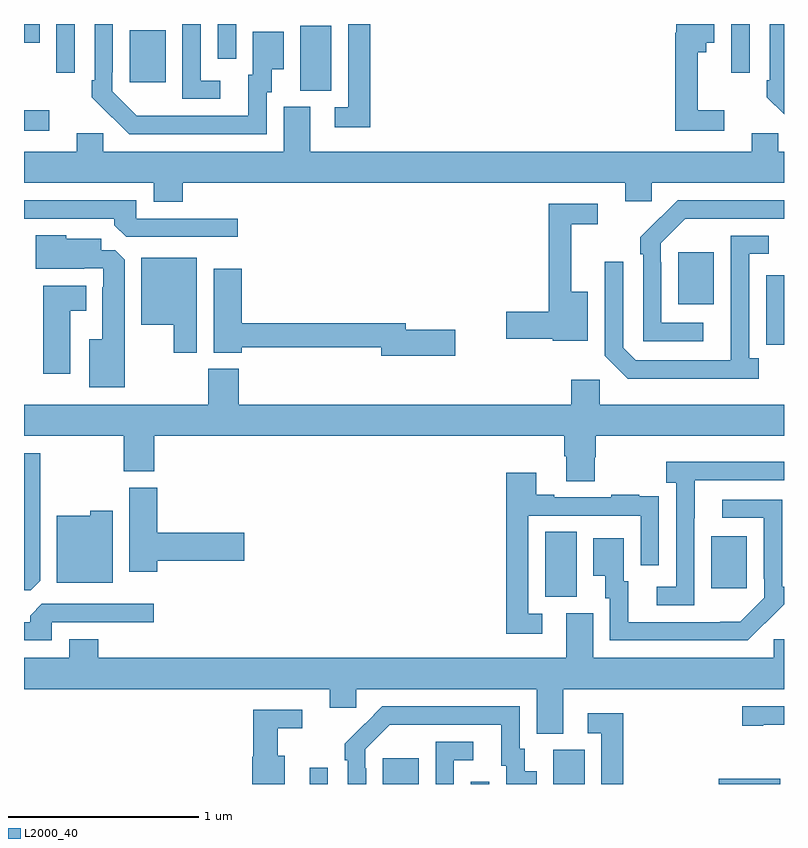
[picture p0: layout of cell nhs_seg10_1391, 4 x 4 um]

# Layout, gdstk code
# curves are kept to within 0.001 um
import gdstk
lib = gdstk.Library(unit=1e-6, precision=1e-09)
def R(c, l, rs):  # rectangles x0, y0, x1, y1
    for r in rs: c.add(gdstk.rectangle(r[:2], r[2:], *l))
def P(c, l, *ps):  # polygons
    for p in ps: c.add(gdstk.Polygon(p, *l))
L2000_40 = (2000, 40)

nhs_seg10_1391 = lib.new_cell('nhs_seg10_1391')
R(nhs_seg10_1391, L2000_40, [(184.503,1282.5,184.599,1282.585), (184.889,1282.5,185.077,1282.636), (185.352,1282.5,185.448,1282.513), (185.786,1282.5,185.95,1282.68), (186.656,1282.5,186.979,1282.528), (185.744,1283.485,185.908,1283.828), (186.617,1283.529,186.805,1283.803), (186.443,1285.025,186.631,1285.3), (183,1285.938,183.133,1286.047), (184.454,1286.149,184.618,1286.492), (183.557,1286.193,183.745,1286.467), (183.171,1286.244,183.267,1286.5), (186.723,1286.244,186.819,1286.5), (184.02,1286.316,184.116,1286.5), (183,1286.402,183.082,1286.5)])
P(nhs_seg10_1391, L2000_40, [(184.278,1286.142),(184.303,1286.142),(184.303,1286.261),(184.366,1286.261),(184.366,1286.458),(184.205,1286.458),(184.205,1286.232),(184.181,1286.232),(184.181,1286.016),(183.594,1286.017),(183.465,1286.145),(183.465,1286.245),(183.468,1286.245),(183.468,1286.5),(183.372,1286.5),(183.372,1286.203),(183.357,1286.203),(183.357,1286.115),(183.554,1285.92),(184.278,1285.92)],
  [(186.685,1286.047),(186.545,1286.047),(186.545,1286.351),(186.592,1286.351),(186.592,1286.402),(186.634,1286.402),(186.634,1286.5),(186.434,1286.5),(186.434,1286.455),(186.427,1286.455),(186.427,1285.938),(186.685,1285.938)],
  [(184.823,1286.5),(184.707,1286.5),(184.707,1286.061),(184.635,1286.061),(184.635,1285.956),(184.823,1285.956)],
  [(187,1286.5),(186.924,1286.5),(186.924,1286.203),(186.909,1286.203),(186.909,1286.115),(187,1286.024)],
  [(184.033,1286.202),(183.93,1286.202),(183.93,1286.5),(183.834,1286.5),(183.834,1286.106),(184.033,1286.106)],
  [(183.417,1285.926),(183.278,1285.926),(183.278,1285.828),(183,1285.828),(183,1285.664),(183.683,1285.664),(183.683,1285.565),(183.836,1285.565),(183.836,1285.664),(186.164,1285.664),(186.164,1285.566),(186.303,1285.566),(186.303,1285.664),(187,1285.664),(187,1285.828),(186.969,1285.828),(186.969,1285.926),(186.83,1285.926),(186.83,1285.828),(184.507,1285.828),(184.507,1286.064),(184.367,1286.064),(184.367,1285.828),(183.417,1285.828)],
  [(186.574,1284.927),(186.354,1284.927),(186.354,1285.247),(186.351,1285.247),(186.351,1285.347),(186.48,1285.476),(187,1285.476),(187,1285.572),(186.44,1285.572),(186.243,1285.377),(186.243,1285.289),(186.258,1285.289),(186.258,1284.831),(186.574,1284.831)],
  [(184.126,1285.476),(183.591,1285.476),(183.591,1285.572),(183,1285.572),(183,1285.476),(183.476,1285.476),(183.476,1285.442),(183.537,1285.38),(184.126,1285.38)],
  [(185.968,1285.09),(185.879,1285.09),(185.879,1285.446),(186.019,1285.446),(186.019,1285.554),(185.761,1285.554),(185.761,1284.986),(185.538,1284.986),(185.538,1284.844),(185.784,1284.844),(185.784,1284.833),(185.968,1284.833)],
  [(183.529,1285.259),(183.48,1285.308),(183.406,1285.308),(183.406,1285.369),(183.222,1285.369),(183.222,1285.387),(183.062,1285.387),(183.062,1285.211),(183.317,1285.211),(183.317,1285.215),(183.417,1285.215),(183.417,1285.115),(183.413,1285.115),(183.413,1284.841),(183.344,1284.841),(183.344,1284.587),(183.529,1284.587)],
  [(186.868,1284.742),(186.816,1284.742),(186.816,1285.29),(186.919,1285.29),(186.919,1285.386),(186.72,1285.386),(186.719,1284.729),(186.219,1284.729),(186.153,1284.795),(186.153,1285.249),(186.057,1285.249),(186.057,1284.753),(186.178,1284.632),(186.868,1284.632)],
  [(183.91,1285.27),(183.617,1285.27),(183.617,1284.917),(183.788,1284.917),(183.788,1284.771),(183.91,1284.771)],
  [(185.269,1284.89),(185.008,1284.89),(185.008,1284.926),(184.145,1284.926),(184.145,1285.213),(183.998,1285.213),(183.998,1284.77),(184.145,1284.77),(184.145,1284.798),(184.88,1284.798),(184.88,1284.755),(185.269,1284.755)],
  [(187,1285.177),(186.906,1285.177),(186.906,1284.922),(186.907,1284.922),(186.907,1284.813),(187,1284.813)],
  [(183.244,1284.992),(183.328,1284.992),(183.328,1285.123),(183.101,1285.123),(183.101,1284.66),(183.244,1284.66)],
  [(186.003,1284.219),(186.008,1284.219),(186.008,1284.332),(187,1284.332),(187,1284.496),(186.03,1284.496),(186.03,1284.628),(185.879,1284.628),(185.879,1284.496),(184.13,1284.496),(184.13,1284.685),(183.97,1284.685),(183.97,1284.496),(183,1284.496),(183,1284.332),(183.526,1284.332),(183.526,1284.145),(183.686,1284.145),(183.686,1284.332),(185.843,1284.332),(185.843,1284.226),(185.855,1284.226),(185.855,1284.094),(186.003,1284.094)],
  [(183.085,1283.569),(183.085,1284.241),(183,1284.241),(183,1283.52),(183.036,1283.52)],
  [(186.528,1283.899),(186.529,1283.899),(186.529,1284.099),(187,1284.099),(187,1284.196),(186.381,1284.196),(186.381,1284.086),(186.432,1284.086),(186.432,1283.538),(186.33,1283.538),(186.33,1283.442),(186.528,1283.442)],
  [(185.728,1283.397),(185.655,1283.397),(185.655,1283.913),(186.246,1283.913),(186.246,1283.652),(186.342,1283.652),(186.342,1283.906),(186.341,1283.906),(186.341,1284.015),(186.239,1284.015),(186.239,1284.022),(186.091,1284.022),(186.091,1284.009),(185.791,1284.009),(185.791,1284.022),(185.695,1284.022),(185.695,1284.139),(185.539,1284.139),(185.539,1283.292),(185.728,1283.292)],
  [(183.701,1283.675),(184.159,1283.675),(184.159,1283.822),(183.701,1283.822),(183.701,1284.06),(183.554,1284.06),(183.554,1283.616),(183.701,1283.616)],
  [(186.899,1283.347),(186.9,1283.346),(187,1283.446),(187,1283.539),(186.99,1283.539),(186.99,1283.997),(186.675,1283.997),(186.675,1283.901),(186.894,1283.901),(186.894,1283.581),(186.897,1283.581),(186.897,1283.481),(186.769,1283.353),(186.181,1283.352),(186.181,1283.568),(186.157,1283.568),(186.157,1283.794),(185.996,1283.794),(185.996,1283.597),(186.059,1283.597),(186.059,1283.478),(186.084,1283.478),(186.084,1283.256),(186.808,1283.256)],
  [(183.466,1283.938),(183.348,1283.938),(183.348,1283.911),(183.173,1283.911),(183.173,1283.558),(183.466,1283.558)],
  [(183.147,1283.352),(183.682,1283.352),(183.682,1283.448),(183.093,1283.448),(183.032,1283.386),(183.032,1283.352),(183,1283.352),(183,1283.256),(183.147,1283.256)],
  [(185.839,1283),(187,1283),(187,1283.262),(186.945,1283.262),(186.945,1283.164),(185.995,1283.164),(185.995,1283.4),(185.855,1283.4),(185.855,1283.164),(183.392,1283.164),(183.392,1283.263),(183.239,1283.263),(183.239,1283.164),(183,1283.164),(183,1283),(184.61,1283),(184.61,1282.902),(184.749,1282.902),(184.749,1283),(185.699,1283),(185.699,1282.765),(185.839,1282.765)],
  [(184.8,1282.583),(184.797,1282.583),(184.797,1282.683),(184.926,1282.812),(185.513,1282.812),(185.513,1282.596),(185.537,1282.596),(185.537,1282.5),(185.698,1282.5),(185.698,1282.567),(185.635,1282.567),(185.635,1282.686),(185.61,1282.686),(185.61,1282.908),(184.886,1282.908),(184.689,1282.713),(184.689,1282.625),(184.704,1282.625),(184.704,1282.5),(184.8,1282.5)],
  [(186.892,1282.812),(187,1282.812),(187,1282.908),(186.78,1282.908),(186.78,1282.807),(186.892,1282.807)],
  [(184.372,1282.648),(184.336,1282.648),(184.336,1282.793),(184.465,1282.793),(184.465,1282.89),(184.207,1282.89),(184.207,1282.644),(184.202,1282.644),(184.202,1282.5),(184.372,1282.5)],
  [(186.155,1282.873),(185.967,1282.873),(185.967,1282.767),(186.039,1282.767),(186.039,1282.5),(186.155,1282.5)],
  [(185.262,1282.626),(185.365,1282.626),(185.365,1282.722),(185.166,1282.722),(185.166,1282.5),(185.262,1282.5)])

lib.write_gds('nhs_seg10_1391.gds')
